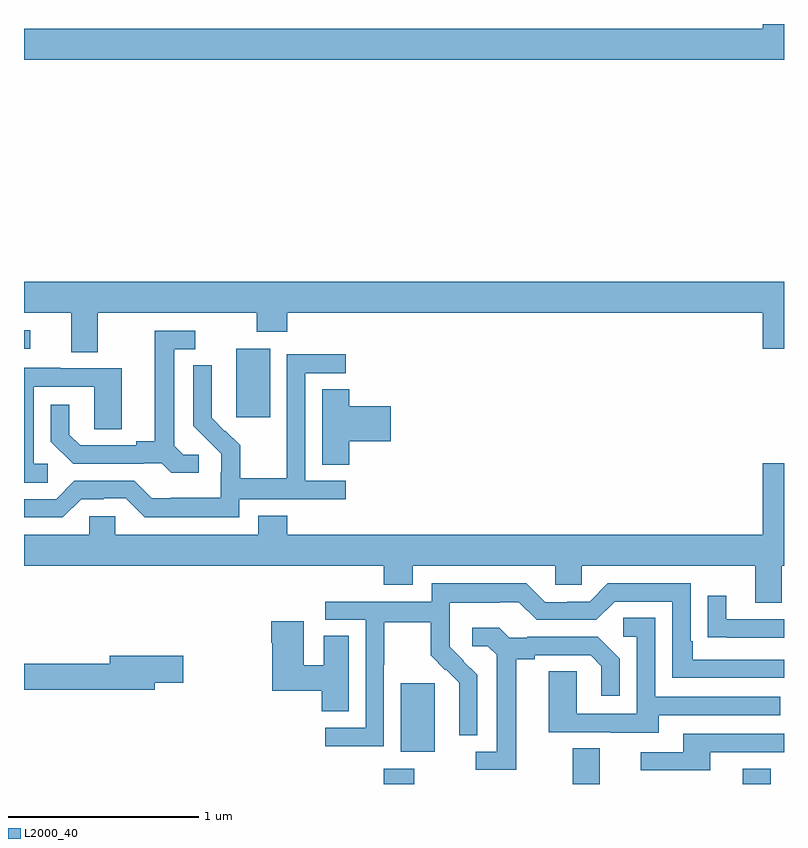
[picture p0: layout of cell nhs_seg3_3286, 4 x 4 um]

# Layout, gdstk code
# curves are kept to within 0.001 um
import gdstk
lib = gdstk.Library(unit=1e-6, precision=1e-09)
def R(c, l, rs):  # rectangles x0, y0, x1, y1
    for r in rs: c.add(gdstk.rectangle(r[:2], r[2:], *l))
def P(c, l, *ps):  # polygons
    for p in ps: c.add(gdstk.Polygon(p, *l))
L2000_40 = (2000, 40)

nhs_seg3_3286 = lib.new_cell('nhs_seg3_3286')
R(nhs_seg3_3286, L2000_40, [(282.893,734.4,283.053,734.479), (283.889,734.4,284.029,734.588), (284.783,734.4,284.931,734.479), (282.983,734.57,283.162,734.931), (282.116,736.329,282.295,736.69), (281,736.692,281.032,736.788)])
P(nhs_seg3_3286, L2000_40, [(285,738.4),(284.888,738.4),(284.888,738.376),(281,738.376),(281,738.212),(285,738.212)],
  [(281.389,736.88),(282.226,736.88),(282.226,736.781),(282.386,736.781),(282.386,736.88),(284.888,736.88),(284.888,736.692),(285,736.692),(285,737.044),(281,737.044),(281,736.88),(281.249,736.88),(281.249,736.672),(281.389,736.672)],
  [(281.92,736.134),(281.838,736.134),(281.791,736.181),(281.791,736.689),(281.902,736.689),(281.902,736.785),(281.687,736.785),(281.687,736.205),(281.591,736.205),(281.591,736.182),(281.296,736.182),(281.239,736.239),(281.239,736.396),(281.142,736.396),(281.142,736.202),(281.258,736.086),(281.63,736.086),(281.63,736.089),(281.724,736.089),(281.776,736.037),(281.92,736.037)],
  [(282.132,735.9),(282.694,735.9),(282.694,735.996),(282.48,735.996),(282.48,736.563),(282.694,736.563),(282.694,736.662),(282.384,736.662),(282.384,736.232),(282.382,736.232),(282.382,736.009),(282.137,736.009),(282.137,736.183),(282.06,736.26),(282.057,736.257),(281.987,736.328),(281.988,736.604),(281.892,736.604),(281.892,736.286),(282.038,736.138),(282.038,736.041),(282.036,736.041),(282.036,735.907),(281.773,735.907),(281.773,735.903),(281.673,735.903),(281.58,735.996),(281.265,735.996),(281.169,735.9),(281,735.9),(281,735.804),(281.205,735.804),(281.301,735.9),(281.42,735.9),(281.42,735.903),(281.535,735.903),(281.635,735.803),(282.132,735.803)],
  [(281.125,736.086),(281.052,736.086),(281.052,736.491),(281.37,736.491),(281.37,736.267),(281.515,736.267),(281.515,736.587),(281.191,736.587),(281.191,736.591),(281,736.591),(281,735.985),(281.125,735.985)],
  [(282.713,736.205),(282.931,736.205),(282.931,736.388),(282.713,736.388),(282.713,736.478),(282.569,736.478),(282.569,736.081),(282.713,736.081)],
  [(284.989,735.548),(285,735.548),(285,736.087),(284.888,736.087),(284.888,735.712),(282.386,735.712),(282.386,735.811),(282.233,735.811),(282.233,735.712),(281.481,735.712),(281.481,735.81),(281.343,735.81),(281.343,735.712),(281,735.712),(281,735.548),(282.893,735.548),(282.893,735.449),(283.045,735.449),(283.045,735.548),(283.797,735.548),(283.797,735.45),(283.935,735.45),(283.935,735.548),(284.849,735.548),(284.849,735.354),(284.989,735.354)],
  [(282.894,735.028),(282.897,735.028),(282.897,735.252),(283.141,735.252),(283.141,735.077),(283.218,735),(283.221,735.003),(283.292,734.933),(283.292,734.81),(283.29,734.81),(283.29,734.656),(283.386,734.656),(283.386,734.974),(283.24,735.122),(283.24,735.219),(283.242,735.219),(283.242,735.353),(283.505,735.353),(283.505,735.357),(283.605,735.357),(283.698,735.264),(284.013,735.264),(284.109,735.36),(284.412,735.36),(284.412,734.958),(285,734.958),(285,735.054),(284.521,735.054),(284.521,735.151),(284.508,735.151),(284.508,735.456),(284.073,735.456),(283.977,735.36),(283.859,735.36),(283.859,735.357),(283.743,735.357),(283.643,735.457),(283.146,735.457),(283.146,735.36),(282.585,735.36),(282.585,735.264),(282.798,735.264),(282.798,734.697),(282.585,734.697),(282.585,734.599),(282.894,734.599)],
  [(285,735.267),(284.695,735.267),(284.695,735.391),(284.599,735.391),(284.599,735.172),(284.701,735.172),(284.701,735.171),(285,735.171)],
  [(284.341,734.763),(284.981,734.763),(284.981,734.859),(284.322,734.859),(284.322,735.275),(284.154,735.275),(284.154,735.174),(284.226,735.174),(284.226,734.769),(283.908,734.769),(283.908,734.993),(283.763,734.993),(283.763,734.673),(284.087,734.673),(284.087,734.669),(284.341,734.669)],
  [(282.709,735.179),(282.578,735.179),(282.578,735.025),(282.472,735.025),(282.472,735.256),(282.302,735.256),(282.302,735.143),(282.307,735.143),(282.307,734.891),(282.566,734.891),(282.566,734.782),(282.709,734.782)],
  [(283.591,735.056),(283.687,735.056),(283.687,735.078),(283.982,735.078),(284.039,735.021),(284.039,734.865),(284.136,734.865),(284.136,735.058),(284.02,735.174),(283.648,735.174),(283.648,735.171),(283.554,735.171),(283.502,735.223),(283.359,735.223),(283.359,735.126),(283.44,735.126),(283.487,735.079),(283.487,734.571),(283.377,734.571),(283.377,734.475),(283.591,734.475)],
  [(281.689,734.933),(281.839,734.933),(281.839,735.075),(281.45,735.075),(281.45,735.032),(281,735.032),(281,734.896),(281.689,734.896)],
  [(284.611,734.568),(285,734.568),(285,734.664),(284.471,734.664),(284.471,734.568),(284.247,734.568),(284.247,734.472),(284.611,734.472)])

lib.write_gds('nhs_seg3_3286.gds')
